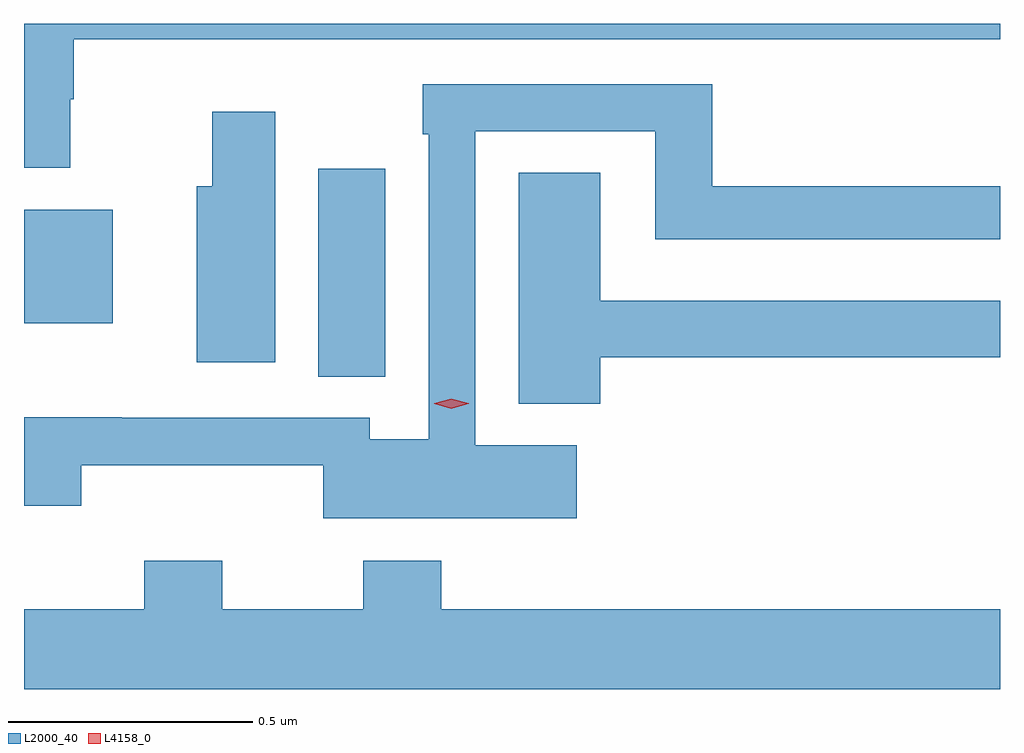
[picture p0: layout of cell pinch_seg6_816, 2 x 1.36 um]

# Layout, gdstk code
import gdstk
lib = gdstk.Library(unit=1e-6, precision=1e-09)
def R(c, l, rs):  # rectangles x0, y0, x1, y1
    for r in rs: c.add(gdstk.rectangle(r[:2], r[2:], *l))
def P(c, l, *ps):  # polygons
    for p in ps: c.add(gdstk.Polygon(p, *l))
L2000_40 = (2000, 40)
L4158_0 = (4158, 0)

pinch_seg6_816 = lib.new_cell('pinch_seg6_816')
R(pinch_seg6_816, L2000_40, [(250.376,958.633,250.513,959.059), (249.773,958.742,249.955,958.975)])
P(pinch_seg6_816, L2000_40, [(249.868,959.201),(249.875,959.201),(249.875,959.324),(251.773,959.324),(251.773,959.356),(249.773,959.356),(249.773,959.061),(249.868,959.061)],
  [(250.906,958.492),(250.698,958.492),(250.698,959.136),(251.067,959.136),(251.067,958.914),(251.773,958.914),(251.773,959.023),(251.183,959.023),(251.183,959.232),(250.59,959.232),(250.59,959.129),(250.602,959.129),(250.602,958.504),(250.482,958.504),(250.482,958.548),(249.973,958.548),(249.973,958.55),(249.773,958.55),(249.773,958.368),(249.89,958.368),(249.89,958.451),(250.386,958.451),(250.386,958.343),(250.906,958.343)],
  [(250.288,959.176),(250.159,959.176),(250.159,959.023),(250.127,959.023),(250.127,958.662),(250.288,958.662)],
  [(250.954,958.672),(251.773,958.672),(251.773,958.788),(250.954,958.788),(250.954,959.051),(250.787,959.051),(250.787,958.577),(250.954,958.577)],
  [(251.773,958.156),(250.628,958.156),(250.628,958.255),(250.468,958.255),(250.468,958.156),(250.179,958.156),(250.179,958.255),(250.019,958.255),(250.019,958.156),(249.773,958.156),(249.773,957.992),(251.773,957.992)])
P(pinch_seg6_816, L4158_0, [(250.649,958.567),(250.614,958.577),(250.614,958.577),(250.614,958.578),(250.649,958.587),(250.684,958.578),(250.684,958.577),(250.684,958.577)])

lib.write_gds('pinch_seg6_816.gds')
